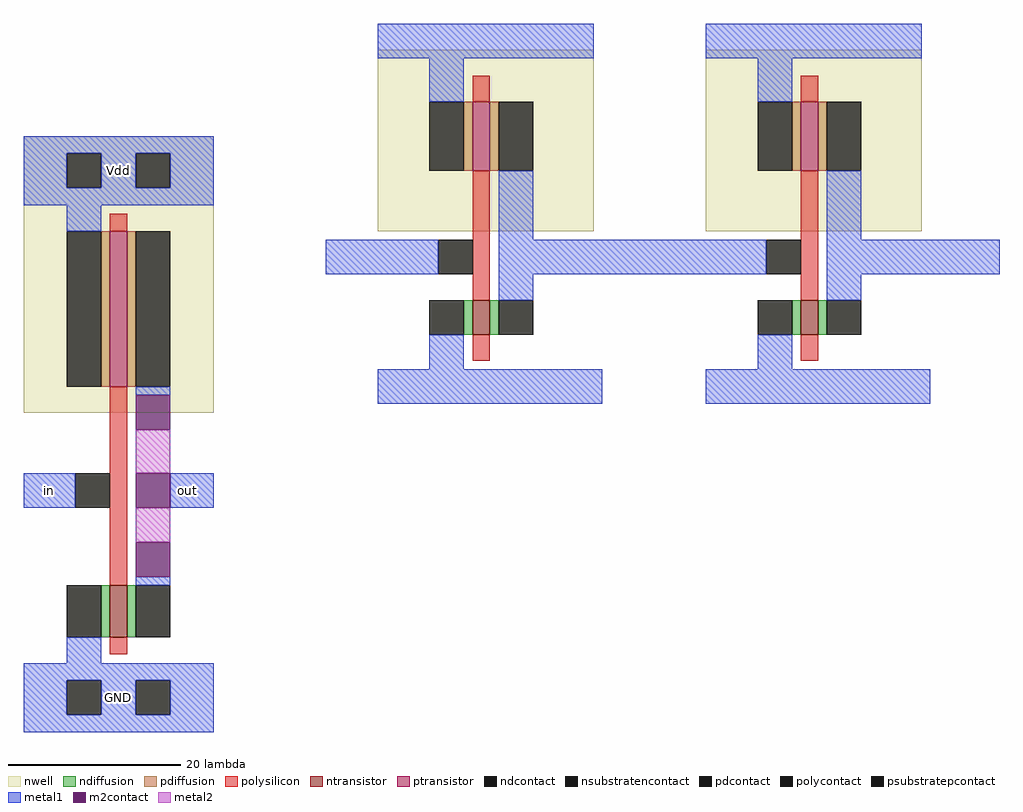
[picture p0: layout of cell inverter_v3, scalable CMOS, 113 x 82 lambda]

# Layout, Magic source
magic
tech scmos
<< nwell >>
rect 0 42 22 74
<< ntransistor >>
rect 10 16 12 22
<< ptransistor >>
rect 10 45 12 63
<< ndiffusion >>
rect 9 16 10 22
rect 12 16 13 22
<< pdiffusion >>
rect 9 45 10 63
rect 12 45 13 63
<< ndcontact >>
rect 5 16 9 22
rect 13 16 17 22
<< pdcontact >>
rect 5 45 9 63
rect 13 45 17 63
<< psubstratepcontact >>
rect 5 7 9 11
rect 13 7 17 11
<< nsubstratencontact >>
rect 5 68 9 72
rect 13 68 17 72
<< polysilicon >>
rect 10 63 12 65
rect 10 22 12 45
rect 10 14 12 16
<< polycontact >>
rect 6 31 10 35
<< metal1 >>
rect 0 72 22 74
rect 0 68 5 72
rect 9 68 13 72
rect 17 68 22 72
rect 0 66 22 68
rect 5 63 9 66
rect 13 44 17 45
rect 0 31 6 35
rect 17 31 22 35
rect 13 22 17 23
rect 5 13 9 16
rect 0 11 22 13
rect 0 7 5 11
rect 9 7 13 11
rect 17 7 22 11
rect 0 5 22 7
<< m2contact >>
rect 13 40 17 44
rect 13 31 17 35
rect 13 23 17 27
<< metal2 >>
rect 13 35 17 40
rect 13 27 17 31
use my_inverter  my_inverter_0
transform 1 0 43 0 1 72
box -8 -29 70 15
<< labels >>
rlabel metal1 3 33 3 33 1 in
rlabel metal1 19 33 19 33 1 out
rlabel metal1 11 70 11 70 1 Vdd
rlabel metal1 11 9 11 9 1 GND
<< end >>

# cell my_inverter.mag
magic
tech scmos
<< nwell >>
rect -2 -9 23 12
rect 36 -9 61 12
<< ntransistor >>
rect 9 -21 11 -17
rect 47 -21 49 -17
<< ptransistor >>
rect 9 -2 11 6
rect 47 -2 49 6
<< ndiffusion >>
rect 8 -21 9 -17
rect 11 -21 12 -17
rect 46 -21 47 -17
rect 49 -21 50 -17
<< pdiffusion >>
rect 8 -2 9 6
rect 11 -2 12 6
rect 46 -2 47 6
rect 49 -2 50 6
<< ndcontact >>
rect 4 -21 8 -17
rect 12 -21 16 -17
rect 42 -21 46 -17
rect 50 -21 54 -17
<< pdcontact >>
rect 4 -2 8 6
rect 12 -2 16 6
rect 42 -2 46 6
rect 50 -2 54 6
<< polysilicon >>
rect 9 6 11 9
rect 47 6 49 9
rect 9 -17 11 -2
rect 47 -17 49 -2
rect 9 -24 11 -21
rect 47 -24 49 -21
<< polycontact >>
rect 5 -14 9 -10
rect 43 -14 47 -10
<< metal1 >>
rect -2 11 23 15
rect 36 11 61 15
rect 4 6 8 11
rect 42 6 46 11
rect 12 -10 16 -2
rect 50 -10 54 -2
rect -8 -14 5 -10
rect 12 -14 43 -10
rect 50 -14 70 -10
rect 12 -17 16 -14
rect 50 -17 54 -14
rect 4 -25 8 -21
rect 42 -25 46 -21
rect -2 -29 24 -25
rect 36 -29 62 -25
<< labels >>
rlabel metal1 -2 -29 24 -25 1 GND
rlabel metal1 2 14 19 15 5 VDD
rlabel metal1 21 -14 31 -11 1 OUTPUT
rlabel metal1 -7 -14 -2 -10 3 INPUT
rlabel metal1 36 -29 62 -25 1 GND
rlabel metal1 40 14 57 15 5 VDD
rlabel metal1 59 -14 69 -11 1 OUTPUT
rlabel metal1 31 -14 36 -10 3 INPUT
<< end >>
